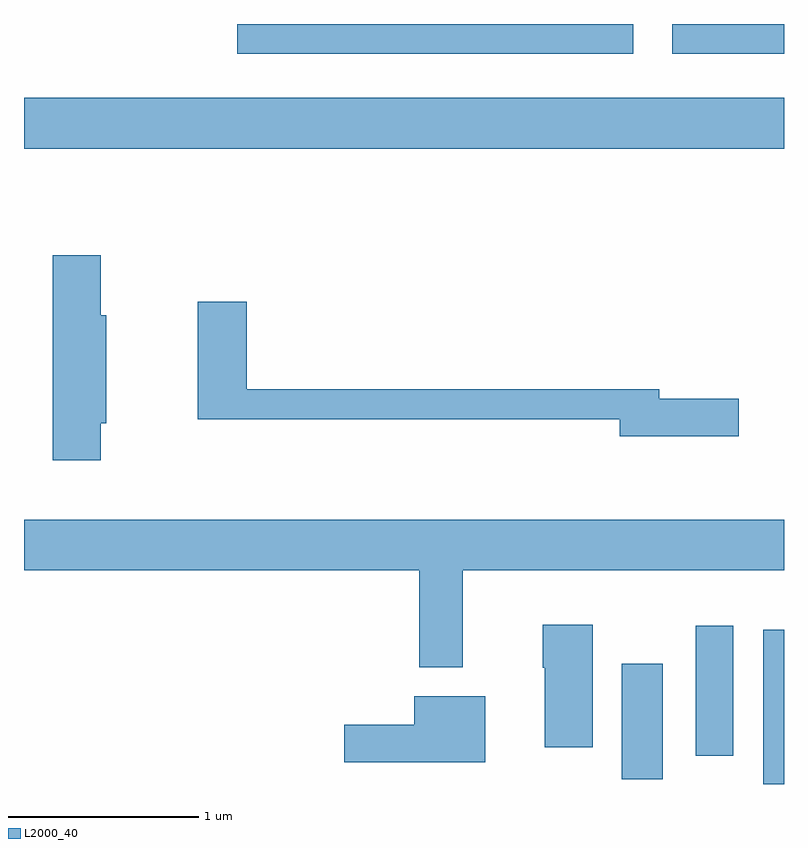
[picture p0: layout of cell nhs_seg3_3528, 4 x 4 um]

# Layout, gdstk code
import gdstk
lib = gdstk.Library(unit=1e-6, precision=1e-09)
def R(c, l, rs):  # rectangles x0, y0, x1, y1
    for r in rs: c.add(gdstk.rectangle(r[:2], r[2:], *l))
def P(c, l, *ps):  # polygons
    for p in ps: c.add(gdstk.Polygon(p, *l))
L2000_40 = (2000, 40)

nhs_seg3_3528 = lib.new_cell('nhs_seg3_3528')
R(nhs_seg3_3528, L2000_40, [(291.501,1235.892,291.611,1236.703), (290.756,1235.916,290.974,1236.524), (291.146,1236.041,291.344,1236.724), (287.611,1239.236,291.611,1239.504), (288.733,1239.736,290.818,1239.892), (291.023,1239.736,291.611,1239.892)])
P(nhs_seg3_3528, L2000_40, [(288.014,1237.791),(288.044,1237.791),(288.044,1238.359),(288.014,1238.359),(288.014,1238.674),(287.761,1238.674),(287.761,1237.596),(288.014,1237.596)],
  [(291.374,1237.919),(290.954,1237.919),(290.954,1237.969),(288.784,1237.969),(288.784,1238.429),(288.526,1238.429),(288.526,1237.811),(290.746,1237.811),(290.746,1237.721),(291.374,1237.721)],
  [(289.919,1237.016),(291.611,1237.016),(291.611,1237.284),(287.611,1237.284),(287.611,1237.016),(289.691,1237.016),(289.691,1236.506),(289.919,1236.506)],
  [(290.604,1236.729),(290.341,1236.729),(290.341,1236.505),(290.351,1236.505),(290.351,1236.086),(290.604,1236.086)],
  [(290.039,1236.354),(289.666,1236.354),(289.666,1236.204),(289.296,1236.204),(289.296,1236.006),(290.039,1236.006)])

lib.write_gds('nhs_seg3_3528.gds')
